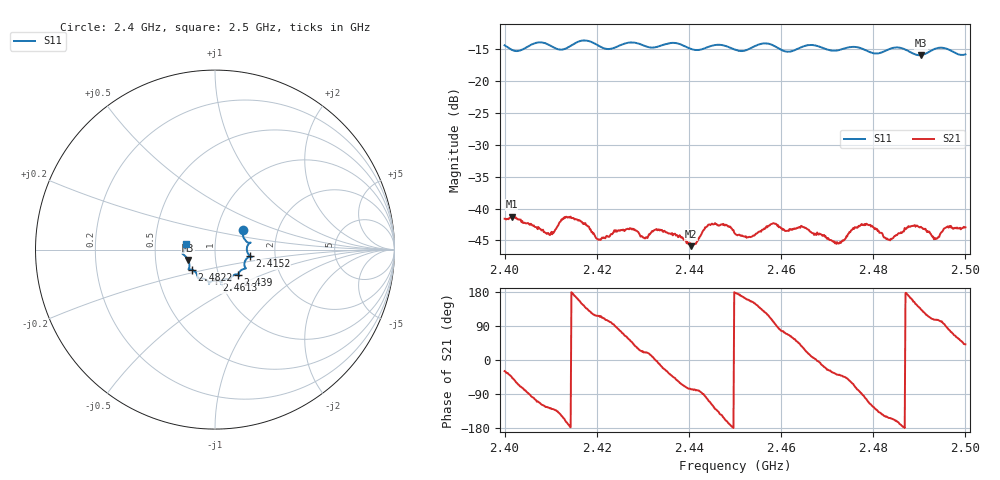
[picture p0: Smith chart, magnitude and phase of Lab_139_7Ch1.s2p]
# Hz S RI R 50
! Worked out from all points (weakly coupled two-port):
!   601 points, 2.4 GHz to 2.5 GHz, reference 50 ohm
!   highest |S21| = -41.26 dB at 2.4015 GHz (marker M1); lowest = -45.9 dB at 2.4405 GHz (marker M2)
!   lowest |S11| = -15.9 dB at 2.4903 GHz (marker M3), VSWR 1.38, Z = 36.8 - j4.41 ohm
!   |S11| at or under -10 dB: start of sweep to end of sweep
!   S12 and S22 are empty: the file has one direction only
!   S11 on the Smith chart (normalised r, x): 2.4 GHz: 1.33, +0.31; 2.4152 GHz: 1.48, -0.11; 2.439 GHz: 1.24, -0.36; 2.4613 GHz: 0.96, -0.34; 2.4822 GHz: 0.76, -0.17; 2.5 GHz: 0.72, +0.05
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2.4e9  0.1561 0.1114  0.00725 -0.00407  0 0  0 0
2.4015e9  0.1542 0.0871  0.00622 -0.006  0 0  0 0
2.4095e9  0.1909 0.0356  -0.00372 -0.00522  0 0  0 0
2.415167e9  0.1944 -0.0361  -0.00807 0.0015  0 0  0 0
2.416667e9  0.2042 -0.0418  -0.00678 0.00406  0 0  0 0
2.4205e9  0.1842 -0.0441  -0.00255 0.00512  0 0  0 0
2.433333e9  0.1329 -0.1323  0.00675 -0.000914  0 0  0 0
2.439e9  0.1283 -0.1393  0.00197 -0.00528  0 0  0 0
2.4405e9  0.1142 -0.1382  0.00107 -0.00494  0 0  0 0
2.444667e9  0.0844 -0.1688  -0.00288 -0.00683  0 0  0 0
2.45e9  0.0684 -0.1635  -0.00635 0.000265  0 0  0 0
2.453333e9  0.0368 -0.1776  -0.00545 0.0024  0 0  0 0
2.458333e9  0.0378 -0.1874  -0.00142 0.00754  0 0  0 0
2.461333e9  0.00778 -0.1705  0.00246 0.00621  0 0  0 0
2.466667e9  -0.0332 -0.19  0.00636 0.00095  0 0  0 0
2.4725e9  -0.0712 -0.1605  0.00408 -0.00338  0 0  0 0
2.478667e9  -0.099 -0.1423  -0.00208 -0.00724  0 0  0 0
2.482167e9  -0.1282 -0.1123  -0.00497 -0.00347  0 0  0 0
2.483333e9  -0.1396 -0.1106  -0.00508 -0.00259  0 0  0 0
2.490333e9  -0.1493 -0.0584  -0.00496 0.0052  0 0  0 0
2.493667e9  -0.1798 -0.025  -0.00165 0.00559  0 0  0 0
2.5e9  -0.1591 0.0338  0.00533 0.0047  0 0  0 0
